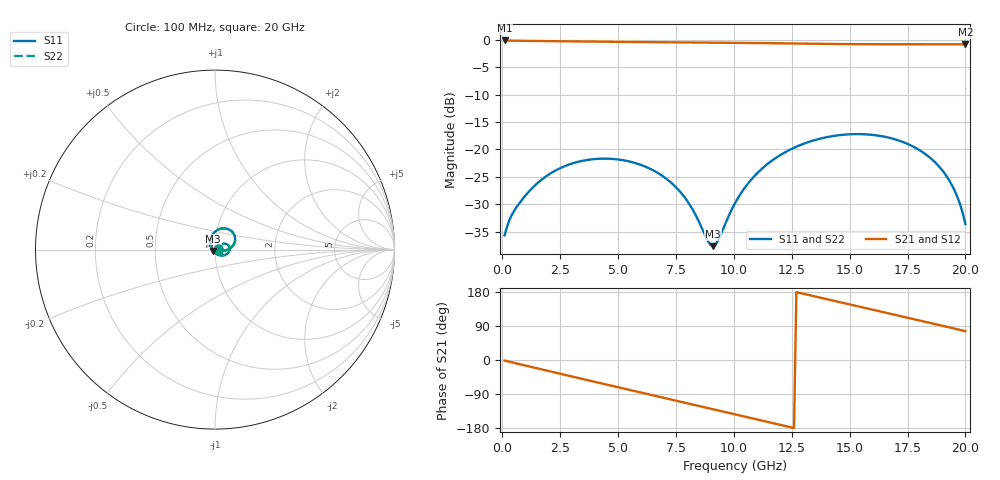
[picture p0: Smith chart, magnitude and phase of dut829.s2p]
! Touchstone file exported from HFSS 2026.1.0
!  File:  C:/ffzhzh/LocalFiles/Ansys_Project_Files/temp_train_TSV_RDL_829_1783266466_38704.aedt
!  Generated:  11:53:47 PM Jul  5, 2026
!  Design:  TSV_RDL
!  Project:  temp_train_TSV_RDL_829_1783266466_38704
! Variables:
!  h_bsmrdl = 2.9um
!  h_ox = 20um
!  h_rdl = 5um
!  h_sub = 61.98um
!  h_tmrdl = 5.55um
!  h_tsv = 61.98um
!  h_via = 3um
!  l_bsmrdl = 361.9um
!  l_sub = 4649.12um
!  l_tmrdl = 755.53um
!  m_sub = 200um
!  pitch = 32.13um
!  r_tsv = 14.24um
!  s_tmrdl = 10um
!  w_bsmrdl = 25.48um
!  w_sub = 500um
!  w_tmrdl = 21.62um
!  x_tsv_center1 = 766.34um
!  x_tsv_center2 = 1153.72um
!  x_tsv_center3 = 1930.87um
!  x_tsv_center4 = 2318.25um
!  x_tsv_center5 = 3095.4um
!  x_tsv_center6 = 3482.78um
# GHz S MA R 50.000000
! Terminal data exported
! Port[1] = TM_RDL1_1_T1
! Port[2] = TM_RDL5_1_T1
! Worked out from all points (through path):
!   200 points, 100 MHz to 20 GHz, reference 50 ohm
!   highest |S21| = -0.14 dB at 100 MHz (marker M1); lowest = -0.8 dB at 20 GHz (marker M2)
!   group delay of S21, straight-line fit = 39.3 ps
!   lowest |S11| = -37.7 dB at 9.1 GHz (marker M3), VSWR 1.03, Z = 49 - j0.789 ohm
!   |S11| at or under -10 dB: start of sweep to end of sweep
!   |S22| runs from -37.8 to -17.2 dB; largest |S21 - S12| = 1.7e-14
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0.1  0.01641 16.9  0.9844 -1.6  0.9844 -1.6  0.01641 16.9
! Gamma 0 0 0 0
! Port Impedance 50 0 50 0
0.3  0.02248 29.2  0.9812 -4.6  0.9812 -4.6  0.02248 29.2
0.5  0.02723 33.1  0.9792 -7.5  0.9792 -7.5  0.02723 33.1
1.4  0.04666 37.8  0.9743 -20.5  0.9743 -20.5  0.04665 37.8
2.4  0.06579 30.0  0.9687 -34.9  0.9687 -34.9  0.06578 30.0
3.5  0.07888 16.7  0.9627 -50.6  0.9627 -50.6  0.07885 16.8
5.2  0.07969 -6.7  0.9554 -74.7  0.9554 -74.7  0.07964 -6.6
6.8  0.05942 -32.1  0.9503 -97.4  0.9503 -97.4  0.05934 -32.0
7.9  0.03591 -56.0  0.9467 -113.0  0.9467 -113.0  0.03577 -55.7
8.9  0.01431 -114.6  0.943 -127.2  0.943 -127.2  0.01408 -114.5
9.1  0.01309 -142.0  0.9421 -130.0  0.9421 -130.0  0.01286 -142.4
9.3  0.01449 -169.5  0.9412 -132.9  0.9412 -132.9  0.01431 -170.2
10.1  0.03368 137.6  0.9373 -144.3  0.9373 -144.3  0.03367 137.2
10.7  0.05141 121.2  0.934 -152.8  0.934 -152.8  0.05144 120.9
11.5  0.07481 105.4  0.9293 -164.1  0.9293 -164.1  0.07487 105.3
13.4  0.1198 75.3  0.9183 169.2  0.9183 169.2  0.1199 75.3
15  0.1372 52.3  0.9117 146.9  0.9117 146.9  0.1373 52.3
16.7  0.1277 28.6  0.909 123.2  0.909 123.2  0.1278 28.8
17.9  0.1018 12.1  0.9091 106.3  0.9091 106.3  0.1019 12.4
18.9  0.0683 -1.4  0.9093 92.0  0.9093 92.0  0.06842 -0.9
19.6  0.0392 -9.9  0.9089 81.9  0.9089 81.9  0.03934 -8.9
20  0.02085 -12.9  0.9082 76.1  0.9082 76.1  0.02104 -10.9
